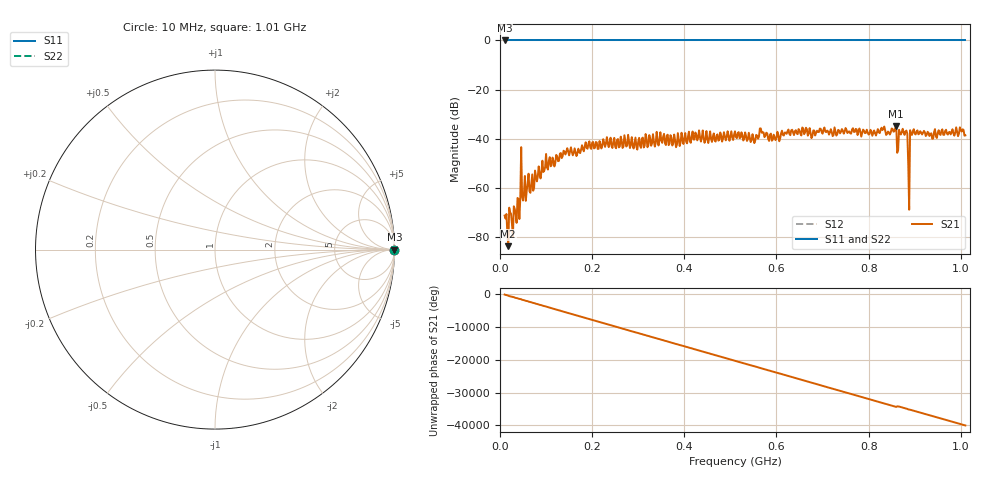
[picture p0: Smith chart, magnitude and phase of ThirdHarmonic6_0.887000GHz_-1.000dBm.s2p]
! 8/16/2025 5:11:02 AM
! C:\ANRITSUVNA\TEMP\TEMP.S2P
! CHANNEL.1
! TR.MEASUREMENT
! RAW.DATA
! RF.CORRECTION.OFF
! AVERAGING.OFF
! IF.BANDWIDTH: 5KHZ
! SWEEPTYPE:  FREQ.SWEEP(Linear)
! Reference Plane Port Info
! PORT:  PORT1  PORT2
! DISTANCE:  0  m  0  m
! TIME:  0  s  0  s
! PHASE.OFFSET:  0  deg.  0  deg.
! LOSS:  0  dB  0  dB
! REF.LOSS:  0  dB  0  dB
! REF.FREQ:  0  Hz  0  Hz
! Power Info
! POWER:  -20  dBm  -20  dBm
! EFF.POWER:  -20  dBm  -20  dBm
! SOURCE.ATTEN:  0  dB  0  dB
! TEST.ATTEN:  0  dB  0  dB
# GHZ S RI R 50.0
! FREQ.GHZ  S11RE  S11IM  S21RE  S21IM  S12RE  S12IM  S22RE  S22IM
!; PortSelection: Port_12
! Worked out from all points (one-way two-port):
!   501 points, 10 MHz to 1.01 GHz, reference 50 ohm
!   highest |S21| = -35.01 dB at 860 MHz (marker M1); lowest = -83.9 dB at 18 MHz (marker M2)
!   lowest |S11| = 0.0 dB at 10 MHz (marker M3)
!   |S11| at or under -10 dB: nowhere
!   |S22| runs from 0.0 to 0.0 dB; largest |S21 - S12| = 1
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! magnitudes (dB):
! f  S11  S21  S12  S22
! 10 MHz  0.0  -71.4  0.0  0.0
! 14 MHz  0.0  -70.8  0.0  0.0
! 18 MHz  0.0  -83.9  0.0  0.0
! 38 MHz  0.0  -64.2  0.0  0.0
! 40 MHz  0.0  -64.6  0.0  0.0
! 42 MHz  0.0  -72.8  0.0  0.0
! 46 MHz  0.0  -43.5  0.0  0.0
! 50 MHz  0.0  -65.3  0.0  0.0
! 52 MHz  0.0  -62.4  0.0  0.0
! 104 MHz  0.0  -52.7  0.0  0.0
! 178 MHz  0.0  -42.7  0.0  0.0
! 344 MHz  0.0  -42.8  0.0  0.0
! 510 MHz  0.0  -37.1  0.0  0.0
! 678 MHz  0.0  -38.9  0.0  0.0
! 844 MHz  0.0  -37.5  0.0  0.0
! 856 MHz  0.0  -37.0  0.0  0.0
! 860 MHz  0.0  -35.0  0.0  0.0
! 880 MHz  0.0  -37.1  0.0  0.0
! 884 MHz  0.0  -38.0  0.0  0.0
! 890 MHz  0.0  -36.6  0.0  0.0
! 894 MHz  0.0  -38.5  0.0  0.0
! 1.01 GHz  0.0  -38.7  0.0  0.0
